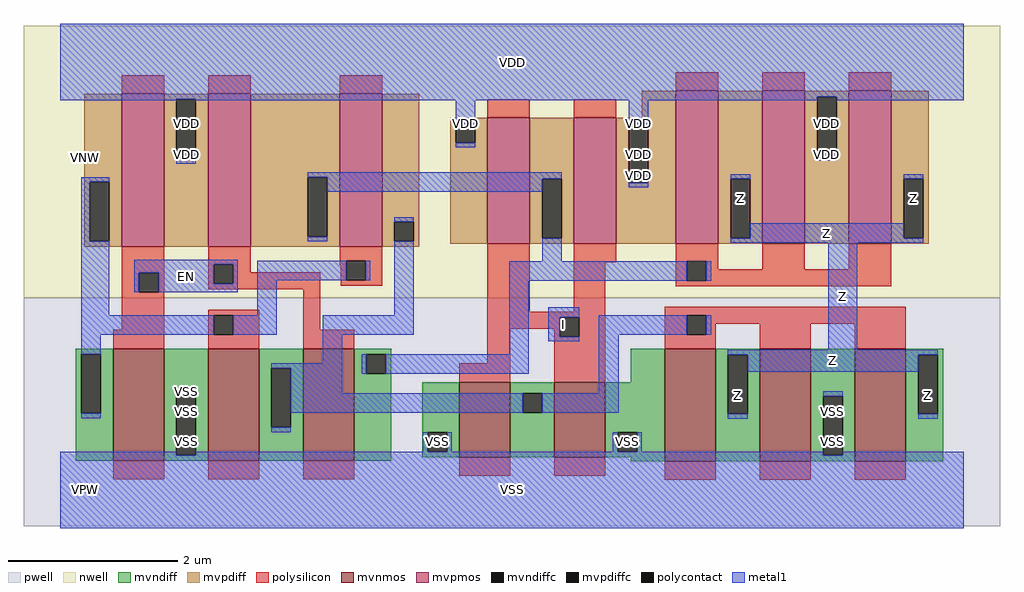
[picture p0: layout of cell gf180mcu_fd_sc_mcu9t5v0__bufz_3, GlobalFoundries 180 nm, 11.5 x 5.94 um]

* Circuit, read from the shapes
.subckt gf180mcu_fd_sc_mcu9t5v0__bufz_3 EN I Z VDD VNW VPW VSS
XM1 VSS EN n1 VPW nfet_06v0 w=1.32u l=0.6u
XM2 n2 n1 VSS VPW nfet_06v0 w=1.32u l=0.6u
XM3 n3 EN n2 VPW nfet_06v0 w=1.32u l=0.6u
XM4 n2 I VSS VPW nfet_06v0 w=0.885u l=0.6u m=2
XM5 Z n2 VSS VPW nfet_06v0 w=1.32u l=0.6u m=3
XM6 VDD EN n1 VNW pfet_06v0 w=1.8u l=0.5u
XM7 n3 EN VDD VNW pfet_06v0 w=1.8u l=0.5u
XM8 n2 n1 n3 VNW pfet_06v0 w=1.8u l=0.5u
XM9 n3 I VDD VNW pfet_06v0 w=1.485u l=0.5u m=2
XM10 Z n3 VDD VNW pfet_06v0 w=1.8u l=0.5u m=3
.ends

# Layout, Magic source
magic
tech gf180mcuD
magscale 1 10
<< nwell >>
rect -86 453 2214 1094
<< pwell >>
rect -86 -86 2214 453
<< mvnmos >>
rect 124 69 244 333
rect 348 69 468 333
rect 572 69 692 333
rect 940 77 1060 254
rect 1164 77 1284 254
rect 1424 68 1544 332
rect 1648 68 1768 332
rect 1872 68 1992 332
<< mvpmos >>
rect 144 573 244 933
rect 348 573 448 933
rect 658 573 758 933
rect 1006 580 1106 877
rect 1210 580 1310 877
rect 1450 580 1550 940
rect 1654 580 1754 940
rect 1858 580 1958 940
<< mvndiff >>
rect 36 320 124 333
rect 36 180 49 320
rect 95 180 124 320
rect 36 69 124 180
rect 244 222 348 333
rect 244 82 273 222
rect 319 82 348 222
rect 244 69 348 82
rect 468 287 572 333
rect 468 147 497 287
rect 543 147 572 287
rect 468 69 572 147
rect 692 320 780 333
rect 692 274 721 320
rect 767 274 780 320
rect 692 69 780 274
rect 1344 254 1424 332
rect 852 136 940 254
rect 852 90 865 136
rect 911 90 940 136
rect 852 77 940 90
rect 1060 228 1164 254
rect 1060 182 1089 228
rect 1135 182 1164 228
rect 1060 77 1164 182
rect 1284 136 1424 254
rect 1284 90 1313 136
rect 1359 90 1424 136
rect 1284 77 1424 90
rect 1344 68 1424 77
rect 1544 319 1648 332
rect 1544 179 1573 319
rect 1619 179 1648 319
rect 1544 68 1648 179
rect 1768 221 1872 332
rect 1768 81 1797 221
rect 1843 81 1872 221
rect 1768 68 1872 81
rect 1992 319 2080 332
rect 1992 179 2021 319
rect 2067 179 2080 319
rect 1992 68 2080 179
<< mvpdiff >>
rect 56 726 144 933
rect 56 586 69 726
rect 115 586 144 726
rect 56 573 144 586
rect 244 920 348 933
rect 244 780 273 920
rect 319 780 348 920
rect 244 573 348 780
rect 448 737 658 933
rect 448 597 583 737
rect 629 597 658 737
rect 448 573 658 597
rect 758 632 846 933
rect 1370 877 1450 940
rect 758 586 787 632
rect 833 586 846 632
rect 758 573 846 586
rect 918 864 1006 877
rect 918 818 931 864
rect 977 818 1006 864
rect 918 580 1006 818
rect 1106 733 1210 877
rect 1106 593 1135 733
rect 1181 593 1210 733
rect 1106 580 1210 593
rect 1310 864 1450 877
rect 1310 724 1339 864
rect 1385 724 1450 864
rect 1310 580 1450 724
rect 1550 733 1654 940
rect 1550 593 1579 733
rect 1625 593 1654 733
rect 1550 580 1654 593
rect 1754 927 1858 940
rect 1754 787 1783 927
rect 1829 787 1858 927
rect 1754 580 1858 787
rect 1958 733 2046 940
rect 1958 593 1987 733
rect 2033 593 2046 733
rect 1958 580 2046 593
<< mvndiffc >>
rect 49 180 95 320
rect 273 82 319 222
rect 497 147 543 287
rect 721 274 767 320
rect 865 90 911 136
rect 1089 182 1135 228
rect 1313 90 1359 136
rect 1573 179 1619 319
rect 1797 81 1843 221
rect 2021 179 2067 319
<< mvpdiffc >>
rect 69 586 115 726
rect 273 780 319 920
rect 583 597 629 737
rect 787 586 833 632
rect 931 818 977 864
rect 1135 593 1181 733
rect 1339 724 1385 864
rect 1579 593 1625 733
rect 1783 787 1829 927
rect 1987 593 2033 733
<< polysilicon >>
rect 144 933 244 977
rect 348 933 448 977
rect 658 933 758 977
rect 1450 940 1550 984
rect 1654 940 1754 984
rect 1858 940 1958 984
rect 1006 877 1106 921
rect 1210 877 1310 921
rect 144 512 244 573
rect 144 466 185 512
rect 231 466 244 512
rect 348 532 448 573
rect 348 486 361 532
rect 407 513 448 532
rect 658 540 758 573
rect 658 529 673 540
rect 407 486 612 513
rect 348 473 612 486
rect 660 494 673 529
rect 719 494 758 540
rect 660 481 758 494
rect 144 377 244 466
rect 124 333 244 377
rect 348 412 468 425
rect 348 366 361 412
rect 407 366 468 412
rect 348 333 468 366
rect 572 377 612 473
rect 1006 420 1106 580
rect 1210 536 1310 580
rect 1450 539 1550 580
rect 1210 420 1284 536
rect 1450 493 1476 539
rect 1522 520 1550 539
rect 1654 520 1754 580
rect 1858 520 1958 580
rect 1522 493 1958 520
rect 1450 480 1958 493
rect 1006 407 1284 420
rect 1006 380 1177 407
rect 572 333 692 377
rect 1006 298 1060 380
rect 940 254 1060 298
rect 1164 361 1177 380
rect 1223 361 1284 407
rect 1164 254 1284 361
rect 1424 411 1992 432
rect 1424 365 1476 411
rect 1522 392 1992 411
rect 1522 365 1544 392
rect 1424 332 1544 365
rect 1648 332 1768 392
rect 1872 332 1992 392
rect 124 25 244 69
rect 348 25 468 69
rect 572 25 692 69
rect 940 33 1060 77
rect 1164 33 1284 77
rect 1424 24 1544 68
rect 1648 24 1768 68
rect 1872 24 1992 68
<< polycontact >>
rect 185 466 231 512
rect 361 486 407 532
rect 673 494 719 540
rect 361 366 407 412
rect 1476 493 1522 539
rect 1177 361 1223 407
rect 1476 365 1522 411
<< metal1 >>
rect 0 927 2128 1098
rect 0 920 1783 927
rect 0 918 273 920
rect 319 918 1783 920
rect 931 864 977 918
rect 931 807 977 818
rect 1339 864 1385 918
rect 273 769 319 780
rect 583 737 1181 748
rect 49 726 115 737
rect 49 586 69 726
rect 629 733 1181 737
rect 629 702 1135 733
rect 583 586 629 597
rect 787 632 833 643
rect 49 412 115 586
rect 174 532 418 542
rect 174 512 361 532
rect 174 466 185 512
rect 231 486 361 512
rect 407 486 418 532
rect 231 466 418 486
rect 464 494 673 540
rect 719 494 730 540
rect 464 412 510 494
rect 787 412 833 586
rect 1829 918 2128 927
rect 1783 776 1829 787
rect 1339 713 1385 724
rect 1579 733 1625 744
rect 1135 539 1181 593
rect 1987 733 2033 744
rect 1625 593 1987 628
rect 1579 582 2033 593
rect 49 366 361 412
rect 407 366 510 412
rect 618 366 833 412
rect 1058 493 1476 539
rect 1522 493 1533 539
rect 49 320 95 366
rect 618 298 664 366
rect 1058 320 1104 493
rect 1150 407 1223 430
rect 1150 361 1177 407
rect 1150 350 1223 361
rect 1269 365 1476 411
rect 1522 365 1533 411
rect 497 287 664 298
rect 49 169 95 180
rect 273 222 319 233
rect 0 82 273 90
rect 543 228 664 287
rect 710 274 721 320
rect 767 274 1104 320
rect 1269 228 1315 365
rect 1809 330 1878 582
rect 543 182 1089 228
rect 1135 182 1315 228
rect 1573 319 2067 330
rect 1619 278 2021 319
rect 1573 168 1619 179
rect 1797 221 1843 232
rect 497 136 543 147
rect 854 90 865 136
rect 911 90 922 136
rect 1302 90 1313 136
rect 1359 90 1370 136
rect 319 82 1797 90
rect 0 81 1797 82
rect 2021 168 2067 179
rect 1843 81 2128 90
rect 0 -90 2128 81
<< labels >>
flabel metal1 s 174 466 418 542 0 FreeSans 200 0 0 0 EN
port 1 nsew default input
flabel metal1 s 1150 350 1223 430 0 FreeSans 200 0 0 0 I
port 2 nsew default input
flabel metal1 s 0 918 2128 1098 0 FreeSans 200 0 0 0 VDD
port 4 nsew power bidirectional abutment
flabel metal1 s 273 232 319 233 0 FreeSans 200 0 0 0 VSS
port 7 nsew ground bidirectional abutment
flabel metal1 s 1987 628 2033 744 0 FreeSans 200 0 0 0 Z
port 3 nsew default output
flabel nwell s 10 734 110 834 0 FreeSans 400 0 0 0 VNW
port 5 nsew power bidirectional
flabel pwell s 10 -50 110 50 0 FreeSans 400 0 0 0 VPW
port 6 nsew ground bidirectional
rlabel metal1 s 1579 628 1625 744 1 Z
port 3 nsew default output
rlabel metal1 s 1579 582 2033 628 1 Z
port 3 nsew default output
rlabel metal1 s 1809 330 1878 582 1 Z
port 3 nsew default output
rlabel metal1 s 1573 278 2067 330 1 Z
port 3 nsew default output
rlabel metal1 s 2021 168 2067 278 1 Z
port 3 nsew default output
rlabel metal1 s 1573 168 1619 278 1 Z
port 3 nsew default output
rlabel metal1 s 1783 807 1829 918 1 VDD
port 4 nsew power bidirectional abutment
rlabel metal1 s 1339 807 1385 918 1 VDD
port 4 nsew power bidirectional abutment
rlabel metal1 s 931 807 977 918 1 VDD
port 4 nsew power bidirectional abutment
rlabel metal1 s 273 807 319 918 1 VDD
port 4 nsew power bidirectional abutment
rlabel metal1 s 1783 776 1829 807 1 VDD
port 4 nsew power bidirectional abutment
rlabel metal1 s 1339 776 1385 807 1 VDD
port 4 nsew power bidirectional abutment
rlabel metal1 s 273 776 319 807 1 VDD
port 4 nsew power bidirectional abutment
rlabel metal1 s 1339 769 1385 776 1 VDD
port 4 nsew power bidirectional abutment
rlabel metal1 s 273 769 319 776 1 VDD
port 4 nsew power bidirectional abutment
rlabel metal1 s 1339 713 1385 769 1 VDD
port 4 nsew power bidirectional abutment
rlabel metal1 s 1797 136 1843 232 1 VSS
port 7 nsew ground bidirectional abutment
rlabel metal1 s 273 136 319 232 1 VSS
port 7 nsew ground bidirectional abutment
rlabel metal1 s 1797 90 1843 136 1 VSS
port 7 nsew ground bidirectional abutment
rlabel metal1 s 1302 90 1370 136 1 VSS
port 7 nsew ground bidirectional abutment
rlabel metal1 s 854 90 922 136 1 VSS
port 7 nsew ground bidirectional abutment
rlabel metal1 s 273 90 319 136 1 VSS
port 7 nsew ground bidirectional abutment
rlabel metal1 s 0 -90 2128 90 1 VSS
port 7 nsew ground bidirectional abutment
<< properties >>
string FIXED_BBOX 0 0 2128 1008
string GDS_END 1341590
string GDS_FILE $PDKPATH/libs.ref/gf180mcu_fd_sc_mcu9t5v0/gds/gf180mcu_fd_sc_mcu9t5v0.gds
string GDS_START 1335522
string LEFclass core
string LEFsite GF018hv5v_green_sc9
string LEFsymmetry X Y
<< end >>
